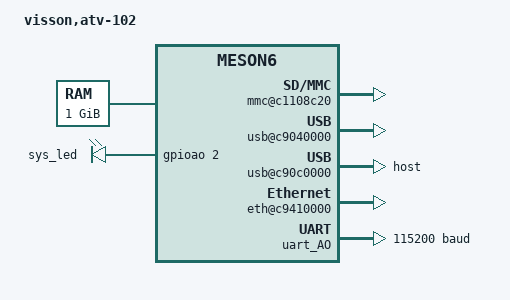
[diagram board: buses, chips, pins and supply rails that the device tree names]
/*-
 * Copyright (c) 2013-2015 John Wehle <john@feith.com>
 * All rights reserved.
 *
 * Redistribution and use in source and binary forms, with or without
 * modification, are permitted provided that the following conditions
 * are met:
 * 1. Redistributions of source code must retain the above copyright
 *    notice, this list of conditions and the following disclaimer.
 * 2. Redistributions in binary form must reproduce the above copyright
 *    notice, this list of conditions and the following disclaimer in the
 *    documentation and/or other materials provided with the distribution.
 *
 * THIS SOFTWARE IS PROVIDED BY THE AUTHOR AND CONTRIBUTORS ``AS IS'' AND
 * ANY EXPRESS OR IMPLIED WARRANTIES, INCLUDING, BUT NOT LIMITED TO, THE
 * IMPLIED WARRANTIES OF MERCHANTABILITY AND FITNESS FOR A PARTICULAR PURPOSE
 * ARE DISCLAIMED. IN NO EVENT SHALL THE AUTHOR OR CONTRIBUTORS BE LIABLE
 * FOR ANY DIRECT, INDIRECT, INCIDENTAL, SPECIAL, EXEMPLARY, OR CONSEQUENTIAL
 * DAMAGES (INCLUDING, BUT NOT LIMITED TO, PROCUREMENT OF SUBSTITUTE GOODS
 * OR SERVICES; LOSS OF USE, DATA, OR PROFITS; OR BUSINESS INTERRUPTION)
 * HOWEVER CAUSED AND ON ANY THEORY OF LIABILITY, WHETHER IN CONTRACT, STRICT
 * LIABILITY, OR TORT (INCLUDING NEGLIGENCE OR OTHERWISE) ARISING IN ANY WAY
 * OUT OF THE USE OF THIS SOFTWARE, EVEN IF ADVISED OF THE POSSIBILITY OF
 * SUCH DAMAGE.
 *
 * $FreeBSD$
 */

/*
 * The ordering of certain devices is significant (e.g. usb depends on
 * usb-phy which depends on gpio, also the timer should appear early on
 * to provide a reasonably accurate DELAY implementation).
 *
 * Both usb-phys devices must be configured to prevent the usb controller
 * from hanging during initialization.
 */

/dts-v1/;

/memreserve/ 0x84900000 0x00600000;			/* 6MB frame buffer */

#include "meson6.dtsi"

/ {
	/*
	 * My development unit visually appears to be a Visson ATV-102
	 * and the specs for both my unit and the Visson ATV-102 say
	 * the SoC is an aml8726-m3.  However the uboot prompt says
	 * m6_mbx_v1, the RTC is located on SECBUS2 instead of AOBUS,
	 * and there are two cores so it seems my unit is a newer
	 * version using the later processor.
	 */

	model = "visson,atv-102";
	compatible = "visson,atv-102", "amlogic,meson6";

	#address-cells = <1>;
	#size-cells = <1>;

	aliases {
		soc = &soc;
		screen = &screen;
		uart0 = &uart_AO;
	};

	memory {
		device_type = "memory";
		reg = <0x80000000 0x40000000>;		/* 1GB RAM */
	};

	soc: soc {
		device_type = "soc";
		bus-frequency = <0>;

		pic: pic@c1109a40 {
			device_type = "interrupt-controller";
			compatible = "amlogic,aml8726-pic";
			reg = <0xc1109a40 128>;	/* cbus 0x2690 */

			interrupt-controller;
			#interrupt-cells = <3>;
		};

		scu: scu@c4300000 {
			compatible = "arm,cortex-a9-scu";
			reg = <0xc4300000 0x1000>;
		};

		cpuconfig: cpuconfig@d901ff80 {
			compatible = "amlogic,aml8726-cpuconfig";
			reg = <0xd901ff80 8>;
		};

		ccm@c1104140 {
			compatible = "amlogic,aml8726-ccm";
			reg = <0xc1104140 20>;	/* cbus 0x1050 */

			functions = "ethernet", "i2c", "rng", "sdio",
				    "uart-a", "uart-b", "uart-c",
				    "usb-a", "usb-b";
		};

		pinctrl: pinctrl@c11080b0 {
			compatible = "amlogic,aml8726-pinctrl";
			reg = <0xc11080b0 40>,	/* mux */
			      <0xc11080e8 24>,	/* pu/pd */
			      <0xc11080e8 24>,	/* pull enable */
			      <0xc8100014 4>,	/* ao mux */
			      <0xc810002c 4>,	/* ao pu/pd */
			      <0xc810002c 4>;	/* ao pull enable */

			/*
			 * Currently only pin muxing that deviates
			 * from the power on default of gpio is
			 * specified here.
			 */

			pinctrl-names = "default";
			pinctrl-0 = <&pins_uartao &pins_ethernet &pins_hdmi>;

			pins_ethernet: ethernet {
				amlogic,pins = "ref_clk_in",
					       "tx_clk", "tx_en",
					       "tx_d0",  "tx_d1",
					       "tx_d2",  "tx_d3",
					       "rx_clk", "rx_dv",
					       "rx_d0",  "rx_d1",
					       "rx_d2",  "rx_d3",
					       "mdc",    "mdio";
				amlogic,function = "ethernet";
			};

			pins_hdmi: hdmi {
				amlogic,pins = "cec", "hpd",
					       "scl", "sda";
				amlogic,function = "hdmi";
			};

			pins_sdio_b: sdio_b {
				amlogic,pins = "clk", "cmd",
					       "d0",  "d1",
					       "d2",  "d3";
				amlogic,function = "sdio-b";
			};

			pins_uartao: uartao {
				amlogic,pins = "tx", "rx";
				amlogic,function = "uart-ao";
			};
		};

		rtc@da004340 {
			compatible = "amlogic,aml8726-rtc";
			reg = <0xda004340 20>;	/* secbus2 0xd0 */
			interrupts = <0 72 1>;	/* AM_IRQ2(8) */
		};

		clkmsr: clkmsr@c1108758 {
			compatible = "amlogic,aml8726-clkmsr";
			reg = <0xc1108758 16>;	/* cbus 0x21d6 */

			clocks = <&clk81>;
		};

		gpioao: gpio@c8100024 {
			/* gpio unit 7 */
			compatible = "amlogic,aml8726-gpio";
			reg = <0xc8100024 4>,	/* oen aobus 0x9 */
			      <0xc8100024 4>,	/* out */
			      <0xc8100028 4>;	/* in */

			gpio-controller;
			#gpio-cells = <1>;
			pin-count = <12>;
		};

		gpio5: gpio@c110806c {
			compatible = "amlogic,aml8726-gpio";
			reg = <0xc110806c 4>,	/* oen cbus 0x201b */
			      <0xc1108070 4>,	/* out */
			      <0xc1108074 4>;	/* in */

			gpio-controller;
			#gpio-cells = <1>;
			pin-count = <32>;
		};

		gpio6: gpio@c1108020 {
			compatible = "amlogic,aml8726-gpio";
			reg = <0xc1108020 4>,	/* oen cbus 0x2008 */
			      <0xc1108024 4>,	/* out */
			      <0xc1108028 4>;	/* in */

			gpio-controller;
			#gpio-cells = <1>;
			pin-count = <29>;
		};

		mmc@c1108c20 {
			compatible = "amlogic,aml8726-mmc";
			reg = <0xc1108c20 32>;	/* cbus 0x2308 */
			interrupts = <0 28 1>;	/* AM_IRQ0(28) */

			clocks = <&clk81>;

			pinctrl-names = "default";
			pinctrl-0 = <&pins_sdio_b>;

			mmc-voltages = "3.3";

			mmc-pwr-en = <&gpio5 31 0>;	/* card_8 */
			ins-detect = <&gpio5 29 0>;	/* card_6 */
		};

		rng@c1108100 {
			compatible = "amlogic,aml8726-rng";
			reg = <0xc1108100 8>;	/* cbus 0x2040 */
		};

		usb-phy@c1108400 {
			/* usb-a phy */
			compatible = "amlogic,aml8726-m6-usb-phy";
			reg = <0xc1108400 32>;	/* cbus 0x2100 */
		};

		usb-phy@c1108420 {
			/* usb-b phy */
			compatible = "amlogic,aml8726-m6-usb-phy";
			reg = <0xc1108420 32>;	/* cbus 0x2108 */

			usb-pwr-en = <&gpioao 3 1>,	/* gpioao_3 vbus */
				     <&gpio6 11 0>;	/* gpioe_11 wifi */
		};

		usb@c9040000 {
			/* usb-a */
			compatible = "synopsys,designware-hs-otg2";
			reg = <0xc9040000 0x40000>;	/* ahbbus 0x40000*/
			interrupts = <0 30 4>;		/* AM_IRQ0(30) */
			#address-cells = <1>;
			#size-cells = <0>;
		};

		usb@c90c0000 {
			/* usb-b */
			compatible = "synopsys,designware-hs-otg2";
			reg = <0xc90c0000 0x40000>;	/* ahbbus 0xc0000 */
			interrupts = <0 31 4>;		/* AM_IRQ0(31) */
			#address-cells = <1>;
			#size-cells = <0>;

			dr_mode = "host";
		};

		eth@c9410000 {
			/* ethernet */
			compatible = "snps,dwmac";
			reg = <0xc9410000 0x2000>;	/* ahbbus 0x410000 */
			interrupts = <0 8 1>;		/* AM_IRQ0(8) */
			#address-cells = <1>;
			#size-cells = <0>;

			eth-phy-rst = <&gpio5 15 0>;	/* gpioy_15 phy-rst */
		};

		screen: fb@c8006324 {
			device_type = "display";
			compatible = "amlogic,aml8726-fb";
			reg = <0xc8006324 12>,		/* CANVAS */
			      <0xc1106800 1024>,	/* VIU */
			      <0xc1107400 1024>;	/* VPP */
			interrupts = <0 2 1>,		/* AM_IRQ0(2) */
				     <0 3 1>,		/* AM_IRQ0(3) */
				     <0 12 1>,		/* AM_IRQ0(12) */
				     <0 13 1>;		/* AM_IRQ0(13) */

			address = <0x84900000>;	/* match memreserve */
			width = <720>;
			height = <480>;
			depth = <24>;
			linebytes = <2160>;
		};
	};

	leds {
		compatible = "gpio-leds";

		sys_led {
			gpios = <&gpioao 2>;	/* gpioao_2 sys_led */
			label = "sys_led";

			default-state = "on";
		};
	};

	chosen {
		stdin = "uart0";
		stdout = "uart0";
	};
};

&clk81 {
	clock-frequency = <0>;
};

&uart_AO {
	status = "okay";
	current-speed = <115200>;
};
